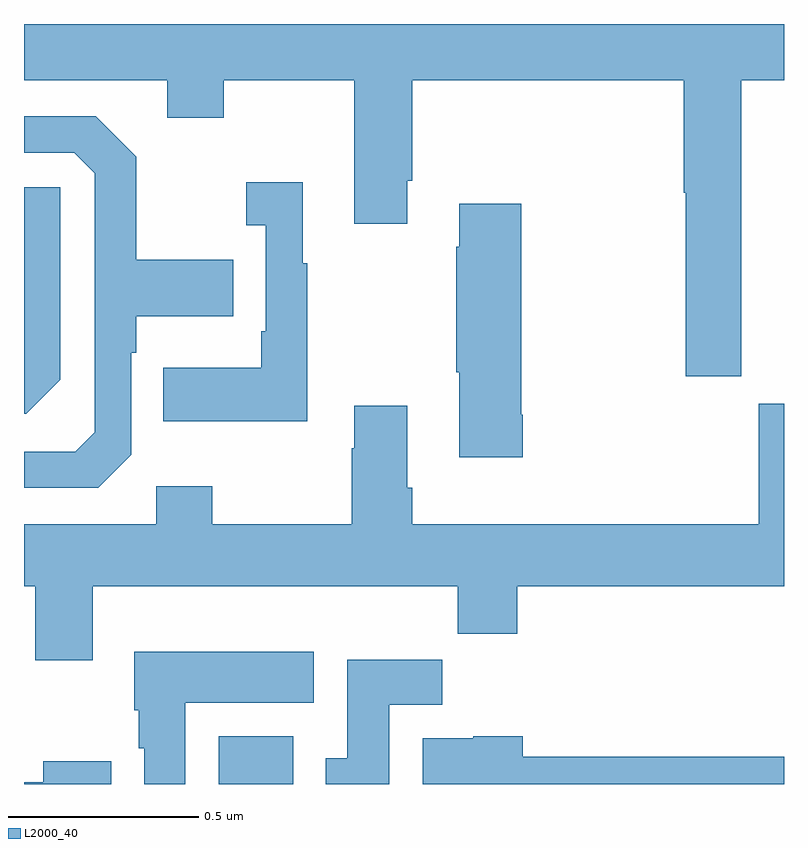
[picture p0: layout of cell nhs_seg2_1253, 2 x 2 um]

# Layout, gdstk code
import gdstk
lib = gdstk.Library(unit=1e-6, precision=1e-09)
def R(c, l, rs):  # rectangles x0, y0, x1, y1
    for r in rs: c.add(gdstk.rectangle(r[:2], r[2:], *l))
def P(c, l, *ps):  # polygons
    for p in ps: c.add(gdstk.Polygon(p, *l))
L2000_40 = (2000, 40)

nhs_seg2_1253 = lib.new_cell('nhs_seg2_1253')
R(nhs_seg2_1253, L2000_40, [(126.512,629.8,126.709,629.926)])
P(nhs_seg2_1253, L2000_40, [(127.888,631.652),(128,631.652),(128,631.8),(126,631.8),(126,631.652),(126.377,631.652),(126.377,631.553),(126.525,631.553),(126.525,631.652),(126.869,631.652),(126.869,631.275),(127.009,631.275),(127.009,631.387),(127.022,631.387),(127.022,631.652),(127.736,631.652),(127.736,631.356),(127.741,631.356),(127.741,630.873),(127.888,630.873)],
  [(126.282,630.666),(126.282,630.935),(126.295,630.935),(126.295,631.031),(126.551,631.031),(126.551,631.179),(126.295,631.179),(126.295,631.451),(126.189,631.557),(126,631.557),(126,631.461),(126.132,631.461),(126.186,631.407),(126.186,630.726),(126.135,630.675),(126,630.675),(126,630.579),(126.195,630.579)],
  [(126.745,631.171),(126.733,631.171),(126.733,631.384),(126.585,631.384),(126.585,631.271),(126.636,631.271),(126.636,630.991),(126.624,630.991),(126.624,630.895),(126.367,630.895),(126.367,630.755),(126.745,630.755)],
  [(126.096,630.864),(126.096,631.371),(126,631.371),(126,630.774),(126.006,630.774)],
  [(127.313,630.772),(127.308,630.772),(127.308,631.327),(127.145,631.327),(127.145,631.214),(127.138,631.214),(127.138,630.883),(127.145,630.883),(127.145,630.66),(127.313,630.66)],
  [(126.181,630.32),(127.141,630.32),(127.141,630.196),(127.298,630.196),(127.298,630.32),(128,630.32),(128,630.801),(127.934,630.801),(127.934,630.484),(127.022,630.484),(127.022,630.58),(127.009,630.58),(127.009,630.796),(126.869,630.796),(126.869,630.683),(126.862,630.683),(126.862,630.484),(126.495,630.484),(126.495,630.583),(126.348,630.583),(126.348,630.484),(126,630.484),(126,630.32),(126.029,630.32),(126.029,630.126),(126.181,630.126)],
  [(126.424,630.014),(126.763,630.014),(126.763,630.148),(126.29,630.148),(126.29,629.994),(126.302,629.994),(126.302,629.894),(126.317,629.894),(126.317,629.8),(126.424,629.8)],
  [(126.961,630.008),(127.1,630.008),(127.1,630.127),(126.851,630.127),(126.851,629.868),(126.794,629.868),(126.794,629.8),(126.961,629.8)],
  [(128,629.872),(127.313,629.872),(127.313,629.926),(127.182,629.926),(127.182,629.92),(127.049,629.92),(127.049,629.8),(128,629.8)],
  [(126.229,629.86),(126.05,629.86),(126.05,629.804),(126,629.804),(126,629.8),(126.229,629.8)])

lib.write_gds('nhs_seg2_1253.gds')
